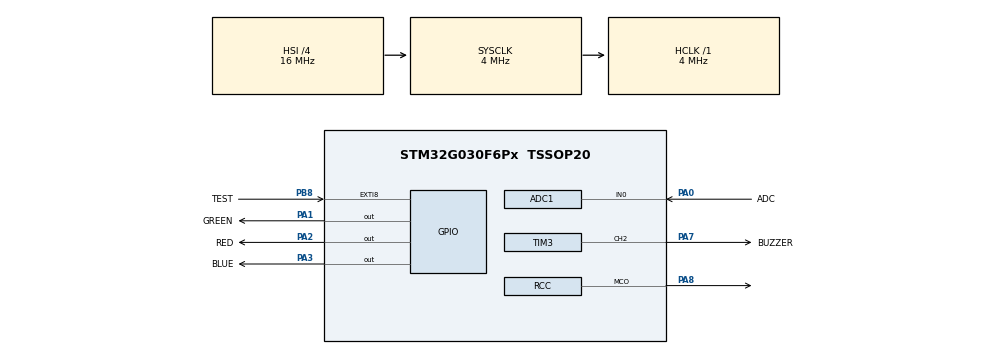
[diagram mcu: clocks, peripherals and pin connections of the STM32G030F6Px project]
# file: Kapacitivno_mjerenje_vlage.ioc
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ADC1.Channel-8\#ChannelRegularConversion=ADC_CHANNEL_0
ADC1.NbrOfConversionFlag=1
ADC1.Rank-8\#ChannelRegularConversion=1
ADC1.SamplingTime-8\#ChannelRegularConversion=ADC_SAMPLINGTIME_COMMON_1
ADC1.SelectedChannel=ADC_CHANNEL_0
ADC1.master=1
Mcu.Family=STM32G0
Mcu.Name=STM32G030F6Px
Mcu.Package=TSSOP20
NVIC.EXTI4_15_IRQn=true\:0\:0\:false\:true\:true\:2\:true\:true\:true
NVIC.RTC_TAMP_IRQn=true\:0\:0\:false\:true\:true\:1\:true\:true\:true
NVIC.TIM3_IRQn=true\:0\:0\:false\:true\:true\:3\:true\:true\:true
PA0.GPIO_Label=ADC
PA0.Signal=SharedAnalog_PA0
PA1.GPIO_Label=GREEN
PA1.GPIO_PuPd=GPIO_NOPULL
PA1.Signal=GPIO_Output
PA13.Mode=Serial_Wire
PA13.Signal=SYS_SWDIO
PA14-BOOT0.Mode=Serial_Wire
PA14-BOOT0.Signal=SYS_SWCLK
PA14-BOOT0__PA15.StandardMode=true
PA2.GPIO_Label=RED
PA2.Signal=GPIO_Output
PA3.GPIO_Label=BLUE
PA3.Signal=GPIO_Output
PA7.GPIO_Label=BUZZER
PA7.Signal=S_TIM3_CH2
PA8.GPIO_Speed=GPIO_SPEED_FREQ_VERY_HIGH
PA8.Mode=Clock-out
PA8.Signal=RCC_MCO
PB0__PB1__PB2__PA8.StandardMode=true
PB3__PB4__PB5__PB6.StandardMode=true
PB7__PB8.StandardMode=true
PB8.GPIO_Label=TEST
PB8.GPIO_ModeDefaultEXTI=GPIO_MODE_IT_FALLING
PB8.GPIO_PuPd=GPIO_PULLUP
PB8.Signal=GPXTI8
PC14-OSC32_IN\ (PC14)__PB9.StandardMode=true
ProjectManager.HeapSize=0x200
ProjectManager.StackSize=0x400
ProjectManager.TargetToolchain=STM32CubeIDE
RCC.ADCFreq_Value=4000000
RCC.AHBFreq_Value=4000000
RCC.CortexFreq_Value=4000000
RCC.EXTERNAL_CLOCK_VALUE=12288000
RCC.HCLKFreq_Value=4000000
RCC.HSE_VALUE=8000000
RCC.HSISYSCLKDivider=RCC_HSI_DIV4
RCC.HSI_VALUE=16000000
RCC.LSE_VALUE=32768
RCC.RCC_MCO1Source=RCC_MCO1SOURCE_PLLCLK
RCC.RCC_MCODiv=RCC_MCODIV_4
RCC.SYSCLKFreq_VALUE=4000000
RCC.VCOOutputFreq_Value=128000000
RTC.WakeUpClock-WakeUp=RTC_WAKEUPCLOCK_CK_SPRE_16BITS
RTC.WakeUpCounter-WakeUp=5
SH.S_TIM3_CH2.0=TIM3_CH2,PWM Generation2 CH2
SH.SharedAnalog_PA0.0=GPIO_Analog
SH.SharedAnalog_PA0.1=ADC1_IN0,IN0
TIM3.Channel-PWM\ Generation2\ CH2=TIM_CHANNEL_2
TIM3.Period=1999
TIM3.Prescaler=0
TIM3.Pulse-PWM\ Generation2\ CH2=1000
VP_RTC_VS_RTC_Activate.Mode=RTC_Enabled
VP_RTC_VS_RTC_WakeUp_intern.Mode=WakeUp
VP_TIM3_VS_ClockSourceINT.Mode=Internal
board=custom

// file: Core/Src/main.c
/* USER CODE BEGIN Header */
/**
  ******************************************************************************
  * @file           : main.c
  * @brief          : Main program body
  ******************************************************************************
  * @attention
  *
  * Copyright (c) 2025 STMicroelectronics.
  * All rights reserved.
  *
  * This software is licensed under terms that can be found in the LICENSE file
  * in the root directory of this software component.
  * If no LICENSE file comes with this software, it is provided AS-IS.
  *
  ******************************************************************************
  */
/* USER CODE END Header */
#include "main.h"

/* USER CODE BEGIN Includes */
uint16_t value= 0;
/* USER CODE END Includes */

ADC_HandleTypeDef hadc1;

RTC_HandleTypeDef hrtc;

TIM_HandleTypeDef htim3;

void SystemClock_Config(void);
static void MX_GPIO_Init(void);
static void MX_ADC1_Init(void);
static void MX_RTC_Init(void);
static void MX_TIM3_Init(void);
static void MX_NVIC_Init(void);

int main(void)
{

  /* MCU Configuration--------------------------------------------------------*/

  /* Reset of all peripherals, Initializes the Flash interface and the Systick. */
  HAL_Init();

  /* Configure the system clock */
  SystemClock_Config();

  /* Initialize all configured peripherals */
  MX_GPIO_Init();
  MX_ADC1_Init();
  MX_RTC_Init();
  MX_TIM3_Init();

  /* Initialize interrupts */
  MX_NVIC_Init();

  /* Infinite loop */
  /* USER CODE BEGIN WHILE */
  while (1)
    {

        HAL_ResumeTick();  // Ponovno uključi SysTick
        HAL_RCC_MCOConfig(RCC_MCO1, RCC_MCO1SOURCE_SYSCLK, RCC_MCODIV_1);// Uključi izlaz takta na MCO (PA8)
        HAL_TIM_PWM_Start(&htim3, TIM_CHANNEL_2);
        // Provjeri je li tipka (PB8) pritisnuta
            if(HAL_GPIO_ReadPin(GPIOB, TEST_Pin) == GPIO_PIN_SET)
            {

        uint32_t startTime = HAL_GetTick(); // Dohvati trenutno vrijeme (vrijeme početka)

        while (HAL_GetTick() - startTime < 150) // Radi ADC čitanje 150 ms
        {
            HAL_ADC_Start(&hadc1); // Pokreni ADC
            HAL_ADC_PollForConversion(&hadc1, 20); // Pričekaj završetak konverzije (timeout 20 ms)
            value = HAL_ADC_GetValue(&hadc1); // Dohvati izmjerenu vrijednost

            if (value <= 3500)
            {
                HAL_GPIO_WritePin(GPIOA, RED_Pin, GPIO_PIN_RESET);// Ugasi izlaz na preba crvenoj LED lampici

                __HAL_TIM_SET_COMPARE(&htim3, TIM_CHANNEL_2, 0);// PWM isključi (vrijednost usporedbe = 0)
            }
            else
            {
                HAL_GPIO_WritePin(GPIOA, RED_Pin, GPIO_PIN_SET);// Uključi izlaz na za crvenu LED lampicu
                __HAL_TIM_SET_COMPARE(&htim3, TIM_CHANNEL_2, 1000);// PWM uključi s usporednom vrijednosti 1000 (≈50% DT)
            }

            HAL_Delay(10); // Kratka pauza (100 ms) između uzorkovanja
        }

        HAL_GPIO_WritePin(GPIOA, RED_Pin, GPIO_PIN_RESET);
        // Nakon petlje ugasi crvenu LED-icu
        HAL_RCC_MCOConfig(RCC_MCO1, RCC_MCO1SOURCE_NOCLOCK, RCC_MCODIV_1);
        // Isključi MCO izlaz
        HAL_ADC_Stop(&hadc1);

        HAL_Delay(100); // Kratka pauza radi stabilnosti
        HAL_SuspendTick();
         // Zaustavi SysTick timer (radi uštede energije)
        __HAL_TIM_SET_COMPARE(&htim3, TIM_CHANNEL_2, 0); // PWM OFF
        HAL_TIM_PWM_Stop(&htim3, TIM_CHANNEL_2);
        HAL_PWR_EnterSTOPMode(PWR_LOWPOWERREGULATOR_ON, PWR_SLEEPENTRY_WFI); // Uđi u STOP način rada i čekaj prekid
        } else //ako je tipkalo pritisnuto izvedi provjeru zujalice i LED-ice
         {
          HAL_GPIO_WritePin(GPIOA, RED_Pin, GPIO_PIN_SET);
           __HAL_TIM_SET_COMPARE(&htim3, TIM_CHANNEL_2, 1000);
            }
    }
    /* USER CODE END WHILE */

}

void SystemClock_Config(void)
{
  RCC_OscInitTypeDef RCC_OscInitStruct = {0};
  RCC_ClkInitTypeDef RCC_ClkInitStruct = {0};

  /** Configure the main internal regulator output voltage
  */
  HAL_PWREx_ControlVoltageScaling(PWR_REGULATOR_VOLTAGE_SCALE1);

  /** Initializes the RCC Oscillators according to the specified parameters
  * in the RCC_OscInitTypeDef structure.
  */
  RCC_OscInitStruct.OscillatorType = RCC_OSCILLATORTYPE_HSI|RCC_OSCILLATORTYPE_LSI;
  RCC_OscInitStruct.HSIState = RCC_HSI_ON;
  RCC_OscInitStruct.HSIDiv = RCC_HSI_DIV4;
  RCC_OscInitStruct.HSICalibrationValue = RCC_HSICALIBRATION_DEFAULT;
  RCC_OscInitStruct.LSIState = RCC_LSI_ON;
  RCC_OscInitStruct.PLL.PLLState = RCC_PLL_NONE;
  if (HAL_RCC_OscConfig(&RCC_OscInitStruct) != HAL_OK)
  {
    Error_Handler();
  }

  /** Initializes the CPU, AHB and APB buses clocks
  */
  RCC_ClkInitStruct.ClockType = RCC_CLOCKTYPE_HCLK|RCC_CLOCKTYPE_SYSCLK
                              |RCC_CLOCKTYPE_PCLK1;
  RCC_ClkInitStruct.SYSCLKSource = RCC_SYSCLKSOURCE_HSI;
  RCC_ClkInitStruct.AHBCLKDivider = RCC_SYSCLK_DIV1;
  RCC_ClkInitStruct.APB1CLKDivider = RCC_HCLK_DIV1;

  if (HAL_RCC_ClockConfig(&RCC_ClkInitStruct, FLASH_LATENCY_0) != HAL_OK)
  {
    Error_Handler();
  }
  HAL_RCC_MCOConfig(RCC_MCO1, RCC_MCO1SOURCE_SYSCLK, RCC_MCODIV_1);
}

/**
  * @brief NVIC Configuration.
  * @retval None
  */
static void MX_NVIC_Init(void)
{
  /* RTC_TAMP_IRQn interrupt configuration */
  HAL_NVIC_SetPriority(RTC_TAMP_IRQn, 0, 0);
  HAL_NVIC_EnableIRQ(RTC_TAMP_IRQn);
  /* EXTI4_15_IRQn interrupt configuration */
  HAL_NVIC_SetPriority(EXTI4_15_IRQn, 0, 0);
  HAL_NVIC_EnableIRQ(EXTI4_15_IRQn);
  /* TIM3_IRQn interrupt configuration */
  HAL_NVIC_SetPriority(TIM3_IRQn, 0, 0);
  HAL_NVIC_EnableIRQ(TIM3_IRQn);
}

static void MX_ADC1_Init(void)
{

  ADC_ChannelConfTypeDef sConfig = {0};

  /** Configure the global features of the ADC (Clock, Resolution, Data Alignment and number of conversion)
  */
  hadc1.Instance = ADC1;
  hadc1.Init.ClockPrescaler = ADC_CLOCK_SYNC_PCLK_DIV1;
  hadc1.Init.Resolution = ADC_RESOLUTION_12B;
  hadc1.Init.DataAlign = ADC_DATAALIGN_RIGHT;
  hadc1.Init.ScanConvMode = ADC_SCAN_DISABLE;
  hadc1.Init.EOCSelection = ADC_EOC_SINGLE_CONV;
  hadc1.Init.LowPowerAutoWait = DISABLE;
  hadc1.Init.LowPowerAutoPowerOff = DISABLE;
  hadc1.Init.ContinuousConvMode = DISABLE;
  hadc1.Init.NbrOfConversion = 1;
  hadc1.Init.DiscontinuousConvMode = DISABLE;
  hadc1.Init.ExternalTrigConv = ADC_SOFTWARE_START;
  hadc1.Init.ExternalTrigConvEdge = ADC_EXTERNALTRIGCONVEDGE_NONE;
  hadc1.Init.DMAContinuousRequests = DISABLE;
  hadc1.Init.Overrun = ADC_OVR_DATA_PRESERVED;
  hadc1.Init.SamplingTimeCommon1 = ADC_SAMPLETIME_1CYCLE_5;
  hadc1.Init.SamplingTimeCommon2 = ADC_SAMPLETIME_1CYCLE_5;
  hadc1.Init.OversamplingMode = DISABLE;
  hadc1.Init.TriggerFrequencyMode = ADC_TRIGGER_FREQ_HIGH;
  if (HAL_ADC_Init(&hadc1) != HAL_OK)
  {
    Error_Handler();
  }

  /** Configure Regular Channel
  */
  sConfig.Channel = ADC_CHANNEL_0;
  sConfig.Rank = ADC_REGULAR_RANK_1;
  sConfig.SamplingTime = ADC_SAMPLINGTIME_COMMON_1;
  if (HAL_ADC_ConfigChannel(&hadc1, &sConfig) != HAL_OK)
  {
    Error_Handler();
  }

}

static void MX_RTC_Init(void)
{

  /** Initialize RTC Only
  */
  hrtc.Instance = RTC;
  hrtc.Init.HourFormat = RTC_HOURFORMAT_24;
  hrtc.Init.AsynchPrediv = 127;
  hrtc.Init.SynchPrediv = 255;
  hrtc.Init.OutPut = RTC_OUTPUT_DISABLE;
  hrtc.Init.OutPutRemap = RTC_OUTPUT_REMAP_NONE;
  hrtc.Init.OutPutPolarity = RTC_OUTPUT_POLARITY_HIGH;
  hrtc.Init.OutPutType = RTC_OUTPUT_TYPE_OPENDRAIN;
  hrtc.Init.OutPutPullUp = RTC_OUTPUT_PULLUP_NONE;
  if (HAL_RTC_Init(&hrtc) != HAL_OK)
  {
    Error_Handler();
  }

  /** Enable the WakeUp
  */
  if (HAL_RTCEx_SetWakeUpTimer_IT(&hrtc, 5, RTC_WAKEUPCLOCK_CK_SPRE_16BITS) != HAL_OK)
  {
    Error_Handler();
  }

}

static void MX_TIM3_Init(void)
{

  TIM_ClockConfigTypeDef sClockSourceConfig = {0};
  TIM_MasterConfigTypeDef sMasterConfig = {0};
  TIM_OC_InitTypeDef sConfigOC = {0};

  htim3.Instance = TIM3;
  htim3.Init.Prescaler = 0;
  htim3.Init.CounterMode = TIM_COUNTERMODE_UP;
  htim3.Init.Period = 1999;
  htim3.Init.ClockDivision = TIM_CLOCKDIVISION_DIV1;
  htim3.Init.AutoReloadPreload = TIM_AUTORELOAD_PRELOAD_DISABLE;
  if (HAL_TIM_Base_Init(&htim3) != HAL_OK)
  {
    Error_Handler();
  }
  sClockSourceConfig.ClockSource = TIM_CLOCKSOURCE_INTERNAL;
  if (HAL_TIM_ConfigClockSource(&htim3, &sClockSourceConfig) != HAL_OK)
  {
    Error_Handler();
  }
  if (HAL_TIM_PWM_Init(&htim3) != HAL_OK)
  {
    Error_Handler();
  }
  sMasterConfig.MasterOutputTrigger = TIM_TRGO_RESET;
  sMasterConfig.MasterSlaveMode = TIM_MASTERSLAVEMODE_DISABLE;
  if (HAL_TIMEx_MasterConfigSynchronization(&htim3, &sMasterConfig) != HAL_OK)
  {
    Error_Handler();
  }
  sConfigOC.OCMode = TIM_OCMODE_PWM1;
  sConfigOC.Pulse = 1000;
  sConfigOC.OCPolarity = TIM_OCPOLARITY_HIGH;
  sConfigOC.OCFastMode = TIM_OCFAST_DISABLE;
  if (HAL_TIM_PWM_ConfigChannel(&htim3, &sConfigOC, TIM_CHANNEL_2) != HAL_OK)
  {
    Error_Handler();
  }
  HAL_TIM_MspPostInit(&htim3);

}

static void MX_GPIO_Init(void)
{
  GPIO_InitTypeDef GPIO_InitStruct = {0};

  /* GPIO Ports Clock Enable */
  __HAL_RCC_GPIOB_CLK_ENABLE();
  __HAL_RCC_GPIOC_CLK_ENABLE();
  __HAL_RCC_GPIOA_CLK_ENABLE();

  /*Configure GPIO pin Output Level */
  HAL_GPIO_WritePin(GPIOA, GREEN_Pin|RED_Pin|BLUE_Pin, GPIO_PIN_RESET);

  /*Configure GPIO pins : PB7 PB9 PB0 PB1
                           PB2 PB3 PB4 PB5
                           PB6 */
  GPIO_InitStruct.Pin = GPIO_PIN_7|GPIO_PIN_9|GPIO_PIN_0|GPIO_PIN_1
                          |GPIO_PIN_2|GPIO_PIN_3|GPIO_PIN_4|GPIO_PIN_5
                          |GPIO_PIN_6;
  GPIO_InitStruct.Mode = GPIO_MODE_ANALOG;
  GPIO_InitStruct.Pull = GPIO_NOPULL;
  HAL_GPIO_Init(GPIOB, &GPIO_InitStruct);

  /*Configure GPIO pin : TEST_Pin */
  GPIO_InitStruct.Pin = TEST_Pin;
  GPIO_InitStruct.Mode = GPIO_MODE_IT_FALLING;
  GPIO_InitStruct.Pull = GPIO_PULLUP;
  HAL_GPIO_Init(TEST_GPIO_Port, &GPIO_InitStruct);

  /*Configure GPIO pins : PC14 PC15 */
  GPIO_InitStruct.Pin = GPIO_PIN_14|GPIO_PIN_15;
  GPIO_InitStruct.Mode = GPIO_MODE_ANALOG;
  GPIO_InitStruct.Pull = GPIO_NOPULL;
  HAL_GPIO_Init(GPIOC, &GPIO_InitStruct);

  /*Configure GPIO pins : GREEN_Pin RED_Pin BLUE_Pin */
  GPIO_InitStruct.Pin = GREEN_Pin|RED_Pin|BLUE_Pin;
  GPIO_InitStruct.Mode = GPIO_MODE_OUTPUT_PP;
  GPIO_InitStruct.Pull = GPIO_NOPULL;
  GPIO_InitStruct.Speed = GPIO_SPEED_FREQ_LOW;
  HAL_GPIO_Init(GPIOA, &GPIO_InitStruct);

  /*Configure GPIO pins : PA4 PA5 PA6 PA11
                           PA12 PA15 */
  GPIO_InitStruct.Pin = GPIO_PIN_4|GPIO_PIN_5|GPIO_PIN_6|GPIO_PIN_11
                          |GPIO_PIN_12|GPIO_PIN_15;
  GPIO_InitStruct.Mode = GPIO_MODE_ANALOG;
  GPIO_InitStruct.Pull = GPIO_NOPULL;
  HAL_GPIO_Init(GPIOA, &GPIO_InitStruct);

  /*Configure GPIO pin : PA8 */
  GPIO_InitStruct.Pin = GPIO_PIN_8;
  GPIO_InitStruct.Mode = GPIO_MODE_AF_PP;
  GPIO_InitStruct.Pull = GPIO_NOPULL;
  GPIO_InitStruct.Speed = GPIO_SPEED_FREQ_LOW;
  GPIO_InitStruct.Alternate = GPIO_AF0_MCO;
  HAL_GPIO_Init(GPIOA, &GPIO_InitStruct);

}

void Error_Handler(void)
{
  __disable_irq();
  while (1)
  {
  }
}
